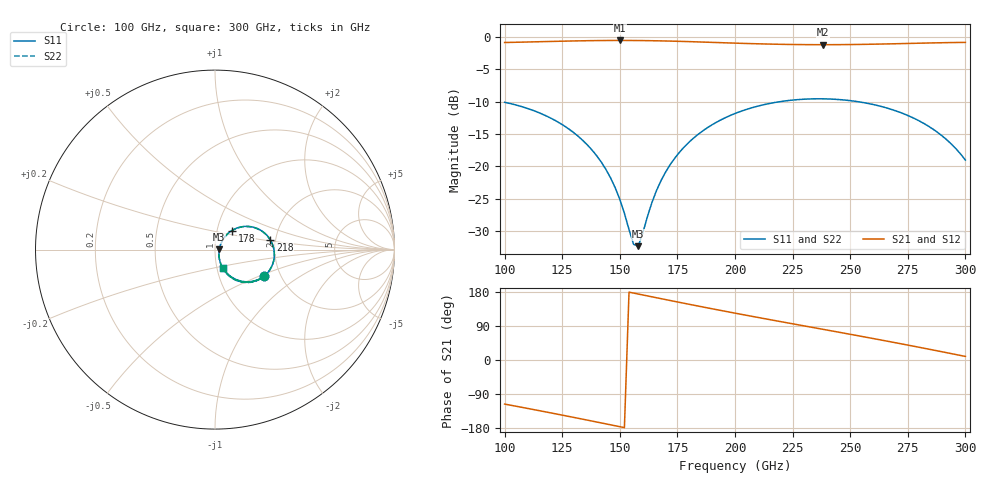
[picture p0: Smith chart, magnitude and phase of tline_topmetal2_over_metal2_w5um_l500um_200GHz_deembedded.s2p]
! Created with skrf 2.2.0 (http://scikit-rf.org).
# GHz S DB R 50.0
! Port[1] = P1
! Port[2] = P2
!freq dBS11 angS11 dBS21 angS21 dBS12 angS12 dBS22 angS22
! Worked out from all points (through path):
!   101 points, 100 GHz to 300 GHz, reference 50 ohm
!   highest |S21| = -0.53 dB at 150 GHz (marker M1); lowest = -1.2 dB at 238 GHz (marker M2)
!   group delay of S21, straight-line fit = 3.24 ps
!   lowest |S11| = -32.3 dB at 158 GHz (marker M3), VSWR 1.05, Z = 52.5 + j0.216 ohm
!   |S11| at or under -10 dB: start of sweep to 219.5 GHz; 253.3 GHz to end of sweep
!   |S22| runs from -32.3 to -9.6 dB; largest |S21 - S12| = 1.1e-14
!   S11 on the Smith chart (normalised r, x): 100 GHz: 1.65, -0.54; 178 GHz: 1.18, +0.25; 218 GHz: 1.88, +0.22; 300 GHz: 1.07, -0.22
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100  -10.09 -28.2  -0.85 -116.3  -0.85 -116.3  -10.09 -28.4
110  -11.06 -38.6  -0.77 -127.8  -0.77 -127.8  -11.05 -38.7
120  -12.54 -48.8  -0.69 -139.5  -0.69 -139.5  -12.54 -48.9
134  -16.01 -62.0  -0.58 -156.3  -0.58 -156.3  -16.00 -62.1
144  -20.49 -67.8  -0.54 -168.6  -0.54 -168.6  -20.48 -68.0
150  -25.11 -64.2  -0.53 -176.0  -0.53 -176.0  -25.09 -64.4
156  -32.07 -25.9  -0.54 176.6  -0.54 176.6  -32.03 -26.2
158  -32.34 4.9  -0.55 174.1  -0.55 174.1  -32.31 4.5
164  -25.53 47.9  -0.57 166.7  -0.57 166.7  -25.53 47.6
168  -22.13 52.2  -0.60 161.7  -0.60 161.7  -22.13 51.8
172  -19.66 51.9  -0.63 156.8  -0.63 156.8  -19.67 51.6
178  -16.99 48.5  -0.69 149.6  -0.69 149.6  -16.99 48.2
188  -14.03 40.0  -0.80 137.6  -0.80 137.6  -14.03 39.7
200  -11.83 28.2  -0.95 123.7  -0.95 123.7  -11.83 27.9
218  -10.08 9.9  -1.12 103.3  -1.12 103.3  -10.09 9.5
234  -9.56 -6.4  -1.19 85.6  -1.19 85.6  -9.57 -6.7
238  -9.56 -10.4  -1.19 81.2  -1.19 81.2  -9.56 -10.8
254  -10.04 -26.5  -1.15 63.4  -1.15 63.4  -10.04 -27.0
268  -11.21 -40.5  -1.05 47.5  -1.05 47.5  -11.21 -41.0
286  -14.26 -57.5  -0.91 26.3  -0.91 26.3  -14.27 -58.0
294  -16.58 -63.4  -0.86 16.7  -0.86 16.7  -16.59 -64.0
300  -19.03 -65.9  -0.83 9.4  -0.83 9.4  -19.05 -66.5
